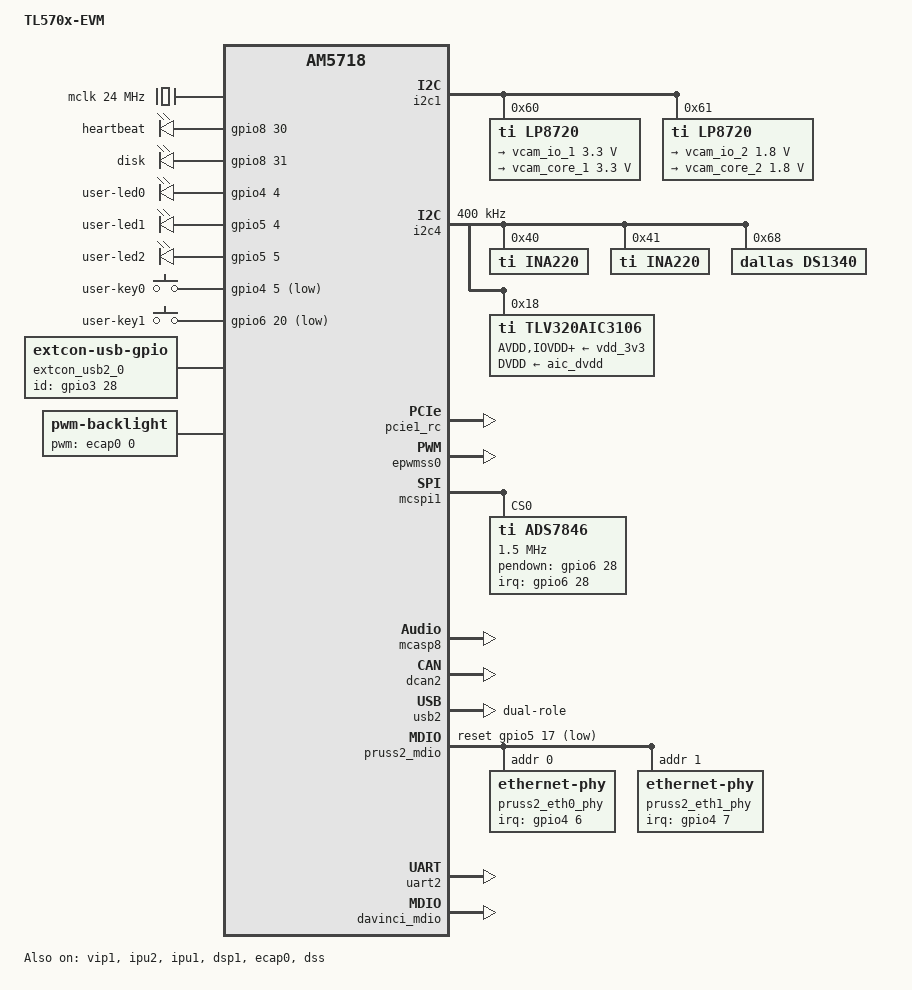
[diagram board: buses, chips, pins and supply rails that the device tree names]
/*
 * Copyright (C) 2015 GuangZhou Tronlong co., LTD - http://www.tronlong.com
 *
 * This program is free software; you can redistribute it and/or modify
 * it under the terms of the GNU General Public License version 2 as
 * published by the Free Software Foundation.
 */

#include "am57xx-evm-common.dtsi"

/ {
	model = "TL570x-EVM";
	compatible = "ti,am5718-idk", "ti,am5718", "ti,dra7";

	aliases {
		rtc0 = &ds1340;
		ethernet2 = &pruss2_emac0;
		ethernet3 = &pruss2_emac1;
	};

	ocp {
		cal: cal@4845b000 {
			compatible = "ti,dra72-cal";
			ti,hwmods = "cal";
			reg = <0x4845B000 0x400>,
			<0x4845B800 0x40>,
			<0x4845B900 0x40>;
			reg-names = "cal_top",
				"cal_rx_core0",
				"cal_rx_core1";
			interrupts = <GIC_SPI 119 IRQ_TYPE_LEVEL_HIGH>;
			syscon-camerrx = <&scm_conf 0xE94>;
			#address-cells = <1>;
			#size-cells = <0>;
			status = "disabled";

			ports {
				#address-cells = <1>;
				#size-cells = <0>;

				csi2_0: port@0 {
					reg = <0>;
				};

				csi2_1: port@1 {
					reg = <1>;
				};
			};
		};
	};

	mclk: master_clock {
		compatible = "fixed-clock";
		#clock-cells = <0>;
		clock-frequency = <24000000>;
		clock-output-names = "mclk";
	};

	leds {
		pinctrl-names = "default";
		pinctrl-0 = <&leds_pins_default>;
		compatible = "gpio-leds";

		led0 {
			label = "heartbeat";
			gpios = <&gpio8 30 GPIO_ACTIVE_HIGH>;
			linux,default-trigger = "heartbeat";
			default-state = "off";
		};

		led1 {
			label = "disk";
			gpios = <&gpio8 31 GPIO_ACTIVE_HIGH>;
			linux,default-trigger = "mmc2";
			default-state = "off";
		};

		led2 {
			label = "user-led0";
			gpios = <&gpio4 4 GPIO_ACTIVE_HIGH>;
			default-state = "on";
		};

		led3 {
			label = "user-led1";
			gpios = <&gpio5 4 GPIO_ACTIVE_HIGH>;
			default-state = "on";
		};

		led4 {
			label = "user-led2";
			gpios = <&gpio5 5 GPIO_ACTIVE_HIGH>;
			default-state = "on";
		};
	};

	gpio_keys {
		compatible = "gpio-keys";
		pinctrl-names = "default";
		pinctrl-0 = <&keys_pins_default>;
		#address-cells = <1>;
		#size-cells = <0>;
		autorepeat;

		USER1 {
			label = "user-key0";
			linux,code = <KEY_PROG1>;
			gpios = <&gpio4 5 GPIO_ACTIVE_LOW>;
		};

		USER2 {
			label = "user-key1";
			linux,code = <KEY_PROG2>;
			gpios = <&gpio6 20 GPIO_ACTIVE_LOW>;
		};
	};

	sound0: sound0 {
		compatible = "simple-audio-card";
		simple-audio-card,name = "TL570x EVM";
		simple-audio-card,widgets =
			"Line", "Line Out",
			"Microphone", "Mic Jack",
			"Line", "Line In";
		simple-audio-card,routing =
			"Line Out",             "LLOUT",
			"Line Out",             "RLOUT",
			"MIC3L",                "Mic Jack",
			"MIC3R",                "Mic Jack",
			"Mic Jack",             "Mic Bias",
			"LINE1L",               "Line In",
			"LINE1R",               "Line In";
		simple-audio-card,format = "dsp_b";
		simple-audio-card,bitclock-master = <&sound0_master>;
		simple-audio-card,frame-master = <&sound0_master>;
		simple-audio-card,bitclock-inversion;

		simple-audio-card,cpu {
			sound-dai = <&mcasp8>;
		};

		sound0_master: simple-audio-card,codec {
			sound-dai = <&tlv320aic3106>;
			clocks = <&clkout2_clk>;
		};
	};

	extcon_usb2_0: extcon_usb2_0 {
		compatible = "linux,extcon-usb-gpio";
		ti,enable-id-detection;
		id-gpio = <&gpio3 28 GPIO_ACTIVE_HIGH>;
	};

	/* Dual-MAC Ethernet application node on PRU-ICSS2 */
	pruss2_eth: pruss2_eth {
		compatible = "ti,am57-prueth";
		pruss = <&pruss2>;
		sram = <&ocmcram1>;
		interrupt-parent = <&pruss2_intc>;
		/*rx-queue-size = /bits/ 16 <254 134 134 254 48>;*/ /* RED */
		/*rx-queue-size = /bits/ 16 <194 194 194 194 48>;*/ /* EMAC */
		/* map is lowpcp-to->hipcp where val 3=q4, 2=q3, 1=q2, 0=q1 */
		/*pcp-rxq-map = /bits/ 8 <3 3 2 2 1 1 0 0>;*/

		pruss2_emac0: ethernet-mii0 {
			phy-handle = <&pruss2_eth0_phy>;
			phy-mode = "mii";
			interrupts = <20>, <22>, <23>;
			interrupt-names = "rx", "tx", "ptp_tx";
			/* Filled in by bootloader */
			local-mac-address = [00 00 00 00 00 00];
			/*tx-queue-size = /bits/ 16 <97 97 97 97 48>;*/
		};

		pruss2_emac1: ethernet-mii1 {
			phy-handle = <&pruss2_eth1_phy>;
			phy-mode = "mii";
			interrupts = <21>, <23>, <24>;
			interrupt-names = "rx", "tx", "ptp_tx";
			/* Filled in by bootloader */
			local-mac-address = [00 00 00 00 00 00];
			/*tx-queue-size = /bits/ 16 <97 97 97 97 48>;*/
		};
	};

	ptp_bc: ptp_bc {
		compatible = "ti,am57-bc";
		status = "disabled";
	};

	backlight {
		compatible = "pwm-backlight";
		pinctrl-names = "default";
		pinctrl-0 = <&ecap0_pins>;

		pwms = <&ecap0 0 50000 0>;

		brightness-levels = <0 10 50 100 150 200 220 240 255>;
		default-brightness-level = <8>;
	};
};

&dra7_pmx_core {
	pinctrl-names = "default";
	pinctrl-0 = <&watchdog_pins_default &usb2_pins_default>;

	watchdog_pins_default: watchdog_pins_default {
		pinctrl-single,pins = <
			DRA7XX_CORE_IOPAD(0x3690, PIN_OUTPUT_PULLDOWN | MUX_MODE14)        /* gpio6_16.gpio6_16 */
			DRA7XX_CORE_IOPAD(0x364c, PIN_OUTPUT_PULLUP | MUX_MODE14)        /* uart3_txd.gpio5_19 */
		>;
	};

	usb2_pins_default: usb2_pins_default {
		pinctrl-single,pins = <
			DRA7XX_CORE_IOPAD(0x3554, PIN_INPUT_PULLUP | MUX_MODE14)         /* vin2a_clk0.gpio3_28 */
			DRA7XX_CORE_IOPAD(0x3684, PIN_OUTPUT_PULLUP | MUX_MODE0)         /* usb2_drvvbus.usb2_drvvbus */
		>;
	};

	leds_pins_default: leds_pins_default {
		pinctrl-single,pins = <
			DRA7XX_CORE_IOPAD(0x3848, (PIN_OUTPUT | MUX_MODE14)) /* emu0.gpio8_30 (som led1) C21 */
			DRA7XX_CORE_IOPAD(0x384c, (PIN_OUTPUT | MUX_MODE14)) /* emu1.gpio8_31 (som led1) C22 */
			DRA7XX_CORE_IOPAD(0x3574, (PIN_OUTPUT | MUX_MODE14)) /* vin2a_d3.gpio4_4 (user led1) A9 */
			DRA7XX_CORE_IOPAD(0x36BC, (PIN_OUTPUT | MUX_MODE14)) /* mcasp1_axr2.gpio5_4 (user led2) C14 */
			DRA7XX_CORE_IOPAD(0x36C0, (PIN_OUTPUT | MUX_MODE14)) /* mcasp1_axr3.gpio5_5 (user led3) B15 */
		>;
	};

	keys_pins_default: keys_pins_default {
		pinctrl-single,pins = <
			DRA7XX_CORE_IOPAD(0x3578, PIN_INPUT_PULLUP | MUX_MODE14) /* vin2a_d4.gpio4_5 */
			DRA7XX_CORE_IOPAD(0x36A0, PIN_INPUT_PULLUP | MUX_MODE14) /* xref_clk3.gpio6_25 */
		>;
	};

	ecap0_pins: ecap0_pins {
		pinctrl-single,pins = <
			DRA7XX_CORE_IOPAD(0x3570, (PIN_OUTPUT | MUX_MODE10)) /* vin2a_d2.eCAP1_in_PWM1_out (A7) */
		>;
	};

	lcd_pins_default: lcd_pins_default {
		pinctrl-single,pins = <
			DRA7XX_CORE_IOPAD(0x35c4, (PIN_INPUT_PULLDOWN | MUX_MODE4)) /* vin2a_d23.vout2_d0 */
			DRA7XX_CORE_IOPAD(0x35c0, (PIN_INPUT_PULLDOWN | MUX_MODE4)) /* vin2a_d22.vout2_d1 */
			DRA7XX_CORE_IOPAD(0x35bc, (PIN_INPUT_PULLDOWN | MUX_MODE4)) /* vin2a_d21.vout2_d2 */
			DRA7XX_CORE_IOPAD(0x35b8, (PIN_INPUT_PULLDOWN | MUX_MODE4)) /* vin2a_d20.vout2_d3 */
			DRA7XX_CORE_IOPAD(0x35b4, (PIN_INPUT_PULLDOWN | MUX_MODE4)) /* vin2a_d19.vout2_d4 */
			DRA7XX_CORE_IOPAD(0x35b0, (PIN_INPUT_PULLDOWN | MUX_MODE4)) /* vin2a_d18.vout2_d5 */
			DRA7XX_CORE_IOPAD(0x35ac, (PIN_INPUT_PULLDOWN | MUX_MODE4)) /* vin2a_d17.vout2_d6 */
			DRA7XX_CORE_IOPAD(0x35a8, (PIN_INPUT_PULLDOWN | MUX_MODE4)) /* vin2a_d16.vout2_d7 */
			DRA7XX_CORE_IOPAD(0x35a4, (PIN_INPUT_PULLDOWN | MUX_MODE4)) /* vin2a_d15.vout2_d8 */
			DRA7XX_CORE_IOPAD(0x35a0, (PIN_INPUT_PULLDOWN | MUX_MODE4)) /* vin2a_d14.vout2_d9 */
			DRA7XX_CORE_IOPAD(0x359c, (PIN_INPUT_PULLDOWN | MUX_MODE4)) /* vin2a_d13.vout2_d10 */
			DRA7XX_CORE_IOPAD(0x3598, (PIN_INPUT_PULLDOWN | MUX_MODE4)) /* vin2a_d12.vout2_d11 */
			DRA7XX_CORE_IOPAD(0x3594, (PIN_INPUT_PULLDOWN | MUX_MODE4)) /* vin2a_d11.vout2_d12 */
			DRA7XX_CORE_IOPAD(0x3590, (PIN_INPUT_PULLDOWN | MUX_MODE4)) /* vin2a_d10.vout2_d13 */
			DRA7XX_CORE_IOPAD(0x358c, (PIN_INPUT_PULLDOWN | MUX_MODE4)) /* vin2a_d9.vout2_d14 */
			DRA7XX_CORE_IOPAD(0x3588, (PIN_INPUT_PULLDOWN | MUX_MODE4)) /* vin2a_d8.vout2_d15 */
			DRA7XX_CORE_IOPAD(0x3558, (PIN_INPUT_PULLDOWN | MUX_MODE4)) /* vin2a_de0.vout2_de */
			DRA7XX_CORE_IOPAD(0x355c, (PIN_INPUT_PULLDOWN | MUX_MODE4)) /* vin2a_fld0.vout2_clk */
			DRA7XX_CORE_IOPAD(0x3560, (PIN_INPUT_PULLDOWN | MUX_MODE4)) /* vin2a_hsync0.vout2_hsync */
			DRA7XX_CORE_IOPAD(0x3564, (PIN_INPUT_PULLDOWN | MUX_MODE4)) /* vin2a_vsync0.vout2_vsync */
		>;
	};

	ads7846_pins_default: ads7846_pins_default {
		pinctrl-single,pins = <
			DRA7XX_CORE_IOPAD(0x3770, (PIN_INPUT_PULLUP | MUX_MODE14)) /* mmc1_sdwp.gpio6_28 */
		>;
	};

	spi1_pins_default: spi1_pins_default {
		pinctrl-single,pins = <
			DRA7XX_CORE_IOPAD(0x37a4, (INPUT_EN | MUX_MODE0))          /* spi1_sclk.spi1_sclk (C24) */
			DRA7XX_CORE_IOPAD(0x37a8, (INPUT_EN | MUX_MODE0))          /* spi1_d1.spi1_d1 (D24) */
			DRA7XX_CORE_IOPAD(0x37ac, (INPUT_EN | MUX_MODE0))          /* spi1_d0.spi1_d0 (D25) */
			DRA7XX_CORE_IOPAD(0x37b0, (PIN_OUTPUT_PULLUP | MUX_MODE0)) /* spi1_cs0.spi1_cs0 (B24) */
		>;
	};

	i2c4_pins_default: i2c4_pins_default {
		pinctrl-single,pins = <
			DRA7XX_CORE_IOPAD(0x36ac, (PIN_INPUT_PULLUP | MUX_MODE10)) /* mcasp1_aclkr.i2c4_sda */
			DRA7XX_CORE_IOPAD(0x36b0, (PIN_INPUT_PULLUP | MUX_MODE10)) /* mcasp1_fsr.i2c4_scl */
		>;
	};

	mcasp8_pins_default: mcasp8_pins_default {
		pinctrl-single,pins = <
			DRA7XX_CORE_IOPAD(0x371c, (PIN_INPUT_PULLDOWN | MUX_MODE1)) /* mcasp2_axr6.mcsap8_aclkx */
			DRA7XX_CORE_IOPAD(0x3720, (PIN_INPUT_PULLDOWN | MUX_MODE1)) /* mcasp2_axr7.mcsap8_fsx */
			DRA7XX_CORE_IOPAD(0x3714, (PIN_INPUT_PULLDOWN | MUX_MODE1)) /* mcasp2_axr4.mcsap8_axr0 */
			DRA7XX_CORE_IOPAD(0x3718, (PIN_OUTPUT_PULLDOWN | MUX_MODE1)) /* mcasp2_axr5.mcsap8_axr1 */
		>;
	};

	dcan2_pins_default: dcan2_pins_default {
		pinctrl-single,pins = <
			DRA7XX_CORE_IOPAD(0x3688, (PIN_INPUT_PULLUP | MUX_MODE2))   /* dcan2_tx.tx */
			DRA7XX_CORE_IOPAD(0x368c, (PIN_INPUT_PULLUP | MUX_MODE2))   /* dcan2_rx.rx */
		>;
	};

	pru2_mii_pins_default: pru2_mii_pins_default {
		pinctrl-single,pins = <
			DRA7XX_CORE_IOPAD(0x36b8, (PIN_INPUT_PULLDOWN | MUX_MODE11)) /* mcasp1_axr1.pr2_mii_mt0_clk (F12)*/
			DRA7XX_CORE_IOPAD(0x36d4, (PIN_INPUT_PULLDOWN | MUX_MODE11)) /* mcasp1_axr8.pr2_mii0_txen (B12) */
			DRA7XX_CORE_IOPAD(0x36e4, (PIN_INPUT_PULLDOWN | MUX_MODE11)) /* mcasp1_axr12.pr2_mii0_txd0 (E14) */
			DRA7XX_CORE_IOPAD(0x36e0, (PIN_INPUT_PULLDOWN | MUX_MODE11)) /* mcasp1_axr11.pr2_mii0_txd1 (A12) */
			DRA7XX_CORE_IOPAD(0x36dc, (PIN_INPUT_PULLDOWN | MUX_MODE11)) /* mcasp1_axr10.pr2_mii0_txd2 (B13) */
			DRA7XX_CORE_IOPAD(0x36d8, (PIN_INPUT_PULLDOWN | MUX_MODE11)) /* mcasp1_axr9.pr2_mii0_txd3 (A11) */
			DRA7XX_CORE_IOPAD(0x36e8, (PIN_INPUT_PULLDOWN | MUX_MODE11)) /* mcasp1_axr13.pr2_mii_mr0_clk (A13) */
			DRA7XX_CORE_IOPAD(0x36ec, (PIN_INPUT_PULLDOWN | MUX_MODE11)) /* mcasp1_axr14.pr2_mii0_rxdv (G14) */
			DRA7XX_CORE_IOPAD(0x36b4, (PIN_INPUT_PULLDOWN | MUX_MODE11)) /* mcasp1_axr0.pr2_mii0_rxer (G12) */
			DRA7XX_CORE_IOPAD(0x3724, (PIN_INPUT_PULLDOWN | MUX_MODE11)) /* mcasp3_aclkx.pr2_mii0_crs (B18) */
			DRA7XX_CORE_IOPAD(0x3728, (PIN_INPUT_PULLUP | MUX_MODE11)) /* mcasp3_fsx.pr2_mii0_col (F15) */
			DRA7XX_CORE_IOPAD(0x3710, (PIN_INPUT_PULLDOWN | MUX_MODE11)) /* mcasp2_axr3.pr2_mii0_rxlink (A16) */
			DRA7XX_CORE_IOPAD(0x370c, (PIN_INPUT_PULLUP | MUX_MODE11)) /* mcasp2_axr2.pr2_mii0_rxd0 (C15) */
			DRA7XX_CORE_IOPAD(0x36f8, (PIN_INPUT_PULLUP | MUX_MODE11)) /* mcasp2_fsx.pr2_mii0_rxd1 (A18) */
			DRA7XX_CORE_IOPAD(0x36f4, (PIN_INPUT_PULLUP | MUX_MODE11)) /* mcasp2_acllx.pr2_mii0_rxd2 (A19) */
			DRA7XX_CORE_IOPAD(0x36f0, (PIN_INPUT_PULLUP | MUX_MODE11)) /* mcasp1_axr15.pr2_mii0_rxd3 (F14) */
			DRA7XX_CORE_IOPAD(0x3774, (PIN_INPUT_PULLDOWN | MUX_MODE11)) /* gpio6_10.pr2_mii_mt1_clk (AC5) */
			DRA7XX_CORE_IOPAD(0x3778, (PIN_INPUT_PULLDOWN | MUX_MODE11)) /* gpio6_11.pr2_mii1_txen (AB4) */
			DRA7XX_CORE_IOPAD(0x377c, (PIN_INPUT_PULLDOWN | MUX_MODE11)) /* mmc3_clk.pr2_mii1_txd3 (AD4) */
			DRA7XX_CORE_IOPAD(0x3780, (PIN_INPUT_PULLDOWN | MUX_MODE11)) /* mmc3_cmd.pr2_mii1_txd2 (AC4) */
			DRA7XX_CORE_IOPAD(0x36a4, (PIN_INPUT_PULLUP | MUX_MODE11)) /* mcasp1_aclkx.pr2_mdio_mdclk (C14) */
			DRA7XX_CORE_IOPAD(0x36a8, (PIN_INPUT_PULLUP | MUX_MODE11)) /* mcasp1_fsx.pr2_mdio_data (D14) */
			DRA7XX_CORE_IOPAD(0x3784, (PIN_INPUT_PULLDOWN | MUX_MODE11)) /* mmc3_dat0.pr2_mii1_txd1 (AC7) */
			DRA7XX_CORE_IOPAD(0x3788, (PIN_INPUT_PULLDOWN | MUX_MODE11)) /* immc3_dat1.pr2_mii1_txd0 (AC6) */
			DRA7XX_CORE_IOPAD(0x378c, (PIN_INPUT_PULLDOWN | MUX_MODE11)) /* mmc3_dat2.pr2_mii_mr1_clk (AC9) */
			DRA7XX_CORE_IOPAD(0x3790, (PIN_INPUT_PULLDOWN | MUX_MODE11)) /* mmc3_dat3.pr2_mii1_rxdv (AC3) */
			DRA7XX_CORE_IOPAD(0x3794, (PIN_INPUT_PULLUP | MUX_MODE11)) /* mmc3_dat4.pr2_mii1_rxd3 (AC8) */
			DRA7XX_CORE_IOPAD(0x3798, (PIN_INPUT_PULLUP | MUX_MODE11)) /* mmc3_dat5.pr2_mii1_rxd2 (AD6) */
			DRA7XX_CORE_IOPAD(0x379c, (PIN_INPUT_PULLUP | MUX_MODE11)) /* mmc3_dat6.pr2_mii1_rxd1 (AB8) */
			DRA7XX_CORE_IOPAD(0x37a0, (PIN_INPUT_PULLUP | MUX_MODE11)) /* mmc3_dat7.pr2_mii1_rxd0 (AB5) */
			DRA7XX_CORE_IOPAD(0x372c, (PIN_INPUT_PULLDOWN | MUX_MODE11)) /* mcasp3_axr0.pr2_mii1_rxer (B19) */
			DRA7XX_CORE_IOPAD(0x3730, (PIN_INPUT_PULLDOWN | MUX_MODE11)) /* mcasp3_axr1.pr2_mii1_rxlink (C17) */
			DRA7XX_CORE_IOPAD(0x3694, (PIN_INPUT_PULLUP | MUX_MODE11)) /* xref_clk0.pr2_mii1_col (D18) */
			DRA7XX_CORE_IOPAD(0x3698, (PIN_INPUT_PULLDOWN | MUX_MODE11)) /* mcasp2_axr9.pr2_mii1_crs (E17) */
			DRA7XX_CORE_IOPAD(0x357c, (PIN_INPUT_PULLUP | MUX_MODE14)) /* vin2a_d5.gpio4_6 */
			DRA7XX_CORE_IOPAD(0x3580, (PIN_INPUT_PULLUP | MUX_MODE14)) /* vin2a_d6.gpio4_7 */
			DRA7XX_CORE_IOPAD(0x3644, (PIN_OUTPUT_PULLUP | MUX_MODE14)) /* RMII_MHZ_50_CLK.gpio5_17 */
			DRA7XX_CORE_IOPAD(0x3584, (PIN_OUTPUT_PULLUP | MUX_MODE14)) /* vin2a_d7.gpio4_8 */
		>;
	};

	uart2_pins_default: uart2_pins_default {
		pinctrl-single,pins = <
			DRA7XX_CORE_IOPAD(0x37F4, (PIN_INPUT_PULLUP | MUX_MODE4)) /* uart2_txd.uart2_txd */
			DRA7XX_CORE_IOPAD(0x37F0, (PIN_INPUT_PULLUP | MUX_MODE4)) /* uart2_rxd.uart2_rxd */
		>;
	};

	fan_pins_default: fan_pins_default {
		pinctrl-single,pins = <
			DRA7XX_CORE_IOPAD(0x36D0, (PIN_OUTPUT | MUX_MODE14)) /* mcasp1_axr7.gpio5_9 */
		>;
	};
};

&i2c1 {
	status = "okay";

	tps659038: tps659038@58 {
		status = "disbale";
	};

	lp8720@60 {
		compatible = "ti,lp8720";
		reg = <0x60>;

		/* Enable BUCK1,2, no DVS, normal LDO mode, timestep is 256usec */
		ti,general-config = /bits/ 8 <0xdd>;
		ti,update-config;

		vcam_io_1: ldo1 {
			regulator-min-microvolt = <3300000>;
			regulator-max-microvolt = <3300000>;
		};

		vcam_core_1: ldo2 {
			regulator-min-microvolt = <3300000>;
			regulator-max-microvolt = <3300000>;
		};
	};

	lp8720@61 {
		compatible = "ti,lp8720";
		reg = <0x61>;

		/* Enable BUCK1,2, no DVS, normal LDO mode, timestep is 256usec */
		ti,general-config = /bits/ 8 <0xdd>;
		ti,update-config;

		vcam_io_2: ldo1 {
			regulator-min-microvolt = <1800000>;
			regulator-max-microvolt = <1800000>;
		};

		vcam_core_2: ldo2 {
			regulator-min-microvolt = <1800000>;
			regulator-max-microvolt = <1800000>;
		};
	};
};

&i2c4 {
	status = "okay";
	clock-frequency = <400000>;
	pinctrl-names = "default";
	pinctrl-0 = <&i2c4_pins_default>;

	ina220@40 {
		compatible = "ti,ina220";
		reg = <0x40>;
		shunt-resistor = <18690>; /* tl570x-evm: Maximum Expected Current = 2 A,R_SHUNT = 20m ohm */
	};

	ina220@41 {
		compatible = "ti,ina220";
		reg = <0x41>;
		shunt-resistor = <18690>; /* som-tl570x: Maximum Expected Current = 3 A,R_SHUNT = 20m ohm */
	};

	ds1340: rtc@68 {
		compatible = "dallas,ds1340";
		reg = <0x68>;
		trickle-resistor-ohms = <250>;
	};

	tlv320aic3106: tlv320aic3106@18 {
		#sound-dai-cells = <0>;
		compatible = "ti,tlv320aic3106";
		reg = <0x18>;
		status = "okay";
		assigned-clocks = <&clkoutmux2_clk_mux>;
		assigned-clock-parents = <&sys_clk2_dclk_div>;

		adc-settle-ms = <40>;

		/* Derived from VBAT: Baseboard 3.3V / 1.8V */
		AVDD-supply = <&vdd_3v3>;
		IOVDD-supply = <&vdd_3v3>;
		DRVDD-supply = <&vdd_3v3>;
		DVDD-supply = <&aic_dvdd>;
	};
};

&mmc1 {
	pinctrl-names = "default";
	vmmc_aux-supply = <>;
	pinctrl-0 = <&mmc1_pins_default>;
};

&mmc2 {
	pinctrl-names = "default";
	pinctrl-0 = <&mmc2_pins_default>;
};

&lcd0 {
	pinctrl-names = "default";
	pinctrl-0 = <&lcd_pins_default>;

	enable-gpios = <>;

	panel-timing {
		clock-frequency = <33000000>;
		hactive = <800>;
		vactive = <480>;
		hfront-porch = <210>;
		hback-porch = <16>;
		hsync-len = <30>;
		vback-porch = <10>;
		vfront-porch = <22>;
		vsync-len = <13>;
		hsync-active = <0>;
		vsync-active = <0>;
		de-active = <1>;
		pixelclk-active = <1>;
	};
};

&lcd_in {
	remote-endpoint = <&dpi_out_1>;
};

&vip1 {
	status = "okay";
};

&mailbox5 {
	status = "okay";
	mbox_ipu1_ipc3x: mbox_ipu1_ipc3x {
		status = "okay";
	};
	mbox_dsp1_ipc3x: mbox_dsp1_ipc3x {
		status = "okay";
	};
};

&mailbox6 {
	status = "okay";
	mbox_ipu2_ipc3x: mbox_ipu2_ipc3x {
		status = "okay";
	};

	mbox_dsp2_ipc3x: mbox_dsp2_ipc3x {
		status = "disable";
	};
};

&mmu0_dsp1 {
	status = "okay";
};

&mmu1_dsp1 {
	status = "okay";
};

&mmu_ipu1 {
	status = "okay";
};

&mmu_ipu2 {
	status = "okay";
};

&ipu2 {
	status = "okay";
	memory-region = <&ipu2_cma_pool>;
	mboxes = <&mailbox6 &mbox_ipu2_ipc3x>;
	timers = <&timer3>;
	watchdog-timers = <&timer4>, <&timer9>;
};

&ipu1 {
	status = "okay";
	memory-region = <&ipu1_cma_pool>;
	mboxes = <&mailbox5 &mbox_ipu1_ipc3x>;
	timers = <&timer11>;
	watchdog-timers = <&timer7>, <&timer8>;
};

&dsp1 {
	status = "okay";
	memory-region = <&dsp1_cma_pool>;
	mboxes = <&mailbox5 &mbox_dsp1_ipc3x>;
	timers = <&timer5>;
	watchdog-timers = <&timer10>;
};

&pcie1_rc {
	status = "okay";
};

&pcie1_ep {
	/*
	 * To enable PCIe EP functionality, set the status of
	 * this node to "okay" and the status of pcie1_rc node
	 * above to "disabled".
	 */
	status = "disable";
};

&pru2_0 {
	ti,pruss-gp-mux-sel = <4>;	/* MII2, needed for PRUSS1_MII0 */
};

&pru2_1 {
	ti,pruss-gp-mux-sel = <4>;	/* MII2, needed for PRUSS1_MII1 */
};

&epwmss0 {
	status = "okay";
};

&ecap0 {
	status = "okay";
};

&dss {
	status = "okay";

	vdda_video-supply = <>;
	ports {
		port@1 {
			reg = <1>;

			dpi_out_1: endpoint {
				remote-endpoint = <&lcd_in>;
				data-lines = <16>;
			};
		};
	};
};

&mcspi1 {
	status = "okay";
	pinctrl-names = "default";
	pinctrl-0 = <&spi1_pins_default>;
	ti,pindir-d0-out-d1-in;

	ads7846@0 {
		pinctrl-names = "default";
		pinctrl-0 = <&ads7846_pins_default>;

		compatible = "ti,ads7846";

		reg = <0>;                      /* CS0 */
		spi-max-frequency = <1500000>;

		interrupt-parent = <&gpio6>;
		interrupts = <28 0>;		/* gpio6_28 */
		pendown-gpio = <&gpio6 28 0>;

		ti,x-min = /bits/ 16 <0x0>;
		ti,x-max = /bits/ 16 <0x0fff>;
		ti,y-min = /bits/ 16 <0x0>;
		ti,y-max = /bits/ 16 <0x0fff>;

		ti,x-plate-ohms = /bits/ 16 <180>;
		ti,pressure-max = /bits/ 16 <255>;

		ti,debounce-max = /bits/ 16 <10>;
		ti,debounce-tol = /bits/ 16 <30>;
		ti,debounce-rep = /bits/ 16 <1>;

		ti,settle-delay-usec = /bits/ 16 <150>;
		ti,keep-vref-on = <1>;

		linux,wakeup;
	};
};

&mcasp8 {
	#sound-dai-cells = <0>;
	status = "okay";
	pinctrl-names = "default";
	pinctrl-0 = <&mcasp8_pins_default>;

	op-mode = <0>;          /* MCASP_IIS_MODE */
	tdm-slots = <2>;
	/* 4 serializer */
	serial-dir = <  /* 0: INACTIVE, 1: TX, 2: RX */
		2 1 0 0
	>;
	tx-num-evt = <32>;
	rx-num-evt = <32>;
};

&dcan2 {
	status = "okay";
	pinctrl-names = "default";
	pinctrl-0 = <&dcan2_pins_default>;
};

&omap_dwc3_2 {
	extcon = <&extcon_usb2_0>;
};

&usb2 {
	dr_mode = "dual-role";
};

&pruss2_mdio {
	status = "okay";

	pinctrl-names = "default";
	pinctrl-0 = <&pru2_mii_pins_default>;

	reset-gpios = <&gpio5 17 GPIO_ACTIVE_LOW>,
		<&gpio4 8 GPIO_ACTIVE_LOW>;
	reset-delay-us = <2>;   /* PHY datasheet states 1uS min */

	pruss2_eth0_phy: ethernet-phy@0 {
		reg = <0>;
		interrupt-parent = <&gpio4>;
		interrupts = <6 IRQ_TYPE_EDGE_FALLING>;
	};

	pruss2_eth1_phy: ethernet-phy@1 {
		reg = <1>;
		interrupt-parent = <&gpio4>;
		interrupts = <7 IRQ_TYPE_EDGE_FALLING>;
	};
};

&qspi {
	status = "disable";
};

&uart2 {
	status = "okay";
	pinctrl-names = "default";
	pinctrl-0 = <&uart2_pins_default>;
};

&gpio_fan {
	gpios =  <&gpio5 9 GPIO_ACTIVE_HIGH>;
	gpio-fan,speed-map = <0     0>,
			     <10000 1>;
};

&cpu_cooling_maps {
	map1 {
		trip = <&cpu_alert1>;
		cooling-device = <&gpio_fan 1 1>;
	};
};

&davinci_mdio {
	status = "okay";
	pinctrl-names = "default";
	pinctrl-0 = <&rgmii0_pins_default>;
};

&rtc {
	status = "disabled";
	ti,hwmods = "";
};

&dsp2 {
	status = "disabled";
};

&mmu0_dsp2 {
	status = "disabled";
};

&mmu1_dsp2 {
	status = "disabled";
};

&dsp2_cma_pool {
	status = "disabled";
};

&dsp2dsp_shm {
	status = "disabled";
};

&i2c5 {
	status = "disabled";
};

&vdd_3v3 {
	vin-supply = <>;
};

&aic_dvdd {
	vin-supply = <>;
};

&vtt_fixed {
	vin-supply = <>;
};

&cpu0 {
	vdd-supply = <>;
};

&usb2_phy1 {
	phy-supply = <>;
};

&usb2_phy2 {
	phy-supply = <>;
};

&hdmi {
	vdda-supply = <>;
};

&gpio4 {
	ti,no-reset-on-init;
};

&dss {
	ti,no-reset-on-init;
	ti,no-idle;
};

&dispc {
	ti,no-reset-on-init;
	ti,no-idle;
};
